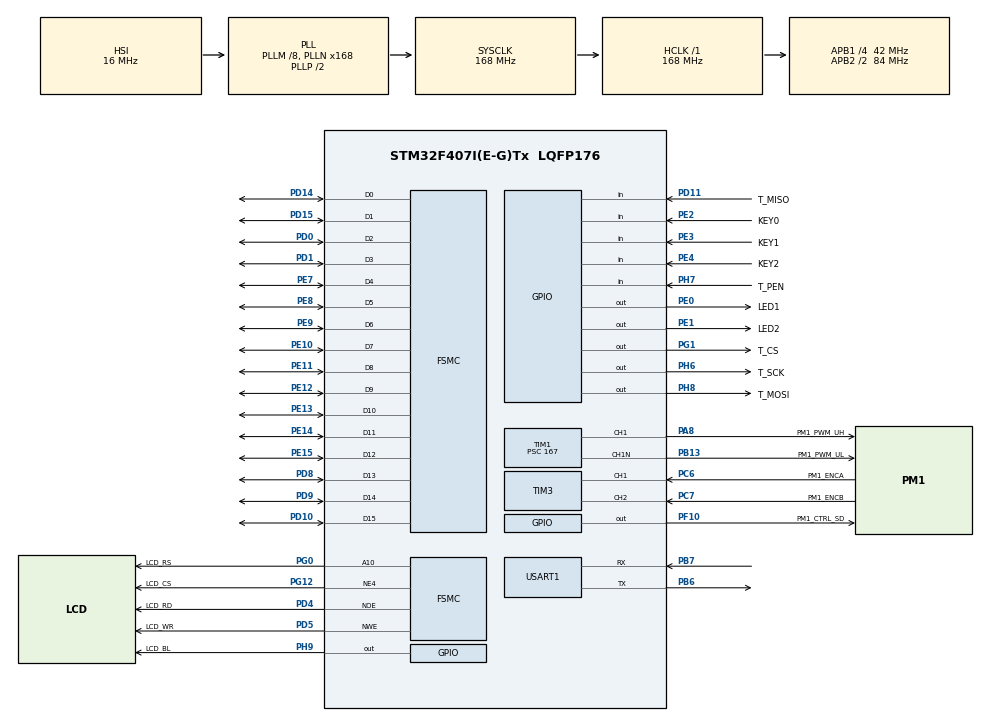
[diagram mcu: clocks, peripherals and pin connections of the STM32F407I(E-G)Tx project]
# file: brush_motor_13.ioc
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FSMC.AccessMode4=FSMC_ACCESS_MODE_A
FSMC.AddressSetupTime4=2
FSMC.BusTurnAroundDuration4=0
FSMC.DataSetupTime4=5
FSMC.ExtendedAccessMode4=FSMC_ACCESS_MODE_A
FSMC.ExtendedAddressSetupTime4=0
FSMC.ExtendedBusTurnAroundDuration4=0
FSMC.ExtendedDataSetupTime4=255
FSMC.ExtendedMode4=FSMC_EXTENDED_MODE_ENABLE
FSMC.NSBank4=FSMC_NORSRAM_BANK4
FSMC.WriteOperation4=FSMC_WRITE_OPERATION_ENABLE
Mcu.Family=STM32F4
Mcu.Name=STM32F407I(E-G)Tx
Mcu.Package=LQFP176
NVIC.PriorityGroup=NVIC_PRIORITYGROUP_4
NVIC.TIM3_IRQn=true\:2\:0\:true\:false\:true\:true\:true\:true
NVIC.TIM6_DAC_IRQn=true\:3\:0\:true\:false\:true\:true\:true\:true
PA13.Mode=Serial_Wire
PA13.Signal=SYS_JTMS-SWDIO
PA14.Mode=Serial_Wire
PA14.Signal=SYS_JTCK-SWCLK
PA8.GPIO_Label=PM1_PWM_UH
PA8.GPIO_Speed=GPIO_SPEED_FREQ_HIGH
PA8.Signal=S_TIM1_CH1
PB0.GPIO_Label=PM1_AMPU
PB0.Signal=ADCx_IN8
PB13.GPIO_Label=PM1_PWM_UL
PB13.GPIO_PuPd=GPIO_NOPULL
PB13.GPIO_Speed=GPIO_SPEED_FREQ_HIGH
PB13.Mode=PWM Generation1 CH1 CH1N
PB13.Signal=TIM1_CH1N
PB6.Mode=Asynchronous
PB6.Signal=USART1_TX
PB7.Mode=Asynchronous
PB7.Signal=USART1_RX
PC14-OSC32_IN.Mode=LSE-External-Oscillator
PC14-OSC32_IN.Signal=RCC_OSC32_IN
PC15-OSC32_OUT.Mode=LSE-External-Oscillator
PC15-OSC32_OUT.Signal=RCC_OSC32_OUT
PC6.GPIO_Label=PM1_ENCA
PC6.GPIO_Speed=GPIO_SPEED_FREQ_HIGH
PC6.Signal=S_TIM3_CH1
PC7.GPIO_Label=PM1_ENCB
PC7.GPIO_Speed=GPIO_SPEED_FREQ_HIGH
PC7.Signal=S_TIM3_CH2
PD0.GPIO_PuPd=GPIO_PULLUP
PD0.Signal=FSMC_D2_DA2
PD1.GPIO_PuPd=GPIO_PULLUP
PD1.Signal=FSMC_D3_DA3
PD10.GPIO_PuPd=GPIO_PULLUP
PD10.Signal=FSMC_D15_DA15
PD11.GPIO_Label=T_MISO
PD11.Signal=GPIO_Input
PD14.GPIO_PuPd=GPIO_PULLUP
PD14.Signal=FSMC_D0_DA0
PD15.GPIO_PuPd=GPIO_PULLUP
PD15.Signal=FSMC_D1_DA1
PD4.GPIO_Label=LCD_RD
PD4.GPIO_PuPd=GPIO_PULLUP
PD4.Signal=FSMC_NOE
PD5.GPIO_Label=LCD_WR
PD5.GPIO_PuPd=GPIO_PULLUP
PD5.Signal=FSMC_NWE
PD8.GPIO_PuPd=GPIO_PULLUP
PD8.Signal=FSMC_D13_DA13
PD9.GPIO_PuPd=GPIO_PULLUP
PD9.Signal=FSMC_D14_DA14
PE0.GPIO_Label=LED1
PE0.PinState=GPIO_PIN_SET
PE0.Signal=GPIO_Output
PE1.GPIO_Label=LED2
PE1.PinState=GPIO_PIN_SET
PE1.Signal=GPIO_Output
PE10.GPIO_PuPd=GPIO_PULLUP
PE10.Signal=FSMC_D7_DA7
PE11.GPIO_PuPd=GPIO_PULLUP
PE11.Signal=FSMC_D8_DA8
PE12.GPIO_PuPd=GPIO_PULLUP
PE12.Signal=FSMC_D9_DA9
PE13.GPIO_PuPd=GPIO_PULLUP
PE13.Signal=FSMC_D10_DA10
PE14.GPIO_PuPd=GPIO_PULLUP
PE14.Signal=FSMC_D11_DA11
PE15.GPIO_PuPd=GPIO_PULLUP
PE15.Signal=FSMC_D12_DA12
PE2.GPIO_Label=KEY0
PE2.GPIO_PuPd=GPIO_PULLUP
PE2.Signal=GPIO_Input
PE3.GPIO_Label=KEY1
PE3.GPIO_PuPd=GPIO_PULLUP
PE3.Signal=GPIO_Input
PE4.GPIO_Label=KEY2
PE4.GPIO_PuPd=GPIO_PULLUP
PE4.Signal=GPIO_Input
PE7.GPIO_PuPd=GPIO_PULLUP
PE7.Signal=FSMC_D4_DA4
PE8.GPIO_PuPd=GPIO_PULLUP
PE8.Signal=FSMC_D5_DA5
PE9.GPIO_PuPd=GPIO_PULLUP
PE9.Signal=FSMC_D6_DA6
PF10.GPIO_Label=PM1_CTRL_SD
PF10.Signal=GPIO_Output
PG0.GPIO_Label=LCD_RS
PG0.GPIO_PuPd=GPIO_PULLUP
PG0.Signal=FSMC_A10
PG1.GPIO_Label=T_CS
PG1.Signal=GPIO_Output
PG12.GPIO_Label=LCD_CS
PG12.GPIO_PuPd=GPIO_PULLUP
PG12.Mode=NorPsramChipSelect4_4
PG12.Signal=FSMC_NE4
PH0-OSC_IN.Mode=HSE-External-Oscillator
PH0-OSC_IN.Signal=RCC_OSC_IN
PH1-OSC_OUT.Mode=HSE-External-Oscillator
PH1-OSC_OUT.Signal=RCC_OSC_OUT
PH13.Signal=TIM8_CH1N
PH6.GPIO_Label=T_SCK
PH6.Signal=GPIO_Output
PH7.GPIO_Label=T_PEN
PH7.Signal=GPIO_Input
PH8.GPIO_Label=T_MOSI
PH8.Signal=GPIO_Output
PH9.GPIO_Label=LCD_BL
PH9.Signal=GPIO_Output
ProjectManager.HeapSize=0x200
ProjectManager.StackSize=0x400
ProjectManager.TargetToolchain=MDK-ARM V5.27
RCC.48MHZClocksFreq_Value=84000000
RCC.AHBFreq_Value=168000000
RCC.APB1CLKDivider=RCC_HCLK_DIV4
RCC.APB1Freq_Value=42000000
RCC.APB1TimFreq_Value=84000000
RCC.APB2CLKDivider=RCC_HCLK_DIV2
RCC.APB2Freq_Value=84000000
RCC.APB2TimFreq_Value=168000000
RCC.CortexFreq_Value=168000000
RCC.FLatency=FLASH_LATENCY_5
RCC.HCLKFreq_Value=168000000
RCC.HSE_VALUE=25000000
RCC.HSI_VALUE=16000000
RCC.PLLM=8
RCC.PLLN=168
RCC.SYSCLKFreq_VALUE=168000000
RCC.SYSCLKSource=RCC_SYSCLKSOURCE_PLLCLK
RCC.VCOOutputFreq_Value=336000000
SH.ADCx_IN8.0=ADC1_IN8
SH.FSMC_A10.0=FSMC_A10,A10_4
SH.FSMC_D0_DA0.0=FSMC_D0,16b-d4
SH.FSMC_D10_DA10.0=FSMC_D10,16b-d4
SH.FSMC_D11_DA11.0=FSMC_D11,16b-d4
SH.FSMC_D12_DA12.0=FSMC_D12,16b-d4
SH.FSMC_D13_DA13.0=FSMC_D13,16b-d4
SH.FSMC_D14_DA14.0=FSMC_D14,16b-d4
SH.FSMC_D15_DA15.0=FSMC_D15,16b-d4
SH.FSMC_D1_DA1.0=FSMC_D1,16b-d4
SH.FSMC_D2_DA2.0=FSMC_D2,16b-d4
SH.FSMC_D3_DA3.0=FSMC_D3,16b-d4
SH.FSMC_D4_DA4.0=FSMC_D4,16b-d4
SH.FSMC_D5_DA5.0=FSMC_D5,16b-d4
SH.FSMC_D6_DA6.0=FSMC_D6,16b-d4
SH.FSMC_D7_DA7.0=FSMC_D7,16b-d4
SH.FSMC_D8_DA8.0=FSMC_D8,16b-d4
SH.FSMC_D9_DA9.0=FSMC_D9,16b-d4
SH.FSMC_NOE.0=FSMC_NOE,Lcd4
SH.FSMC_NWE.0=FSMC_NWE,Lcd4
SH.S_TIM1_CH1.0=TIM1_CH1,PWM Generation1 CH1 CH1N
SH.S_TIM3_CH1.0=TIM3_CH1,Encoder_Interface
SH.S_TIM3_CH2.0=TIM3_CH2,Encoder_Interface
TIM1.Channel-PWM\ Generation1\ CH1\ CH1N=TIM_CHANNEL_1
TIM1.CounterMode=TIM_COUNTERMODE_CENTERALIGNED1
TIM1.DeadTime=3
TIM1.Period=999
TIM1.Prescaler=167
TIM1.TIM_MasterOutputTrigger=TIM_TRGO_UPDATE
TIM1.TIM_MasterSlaveMode=TIM_MASTERSLAVEMODE_ENABLE
TIM3.EncoderMode=TIM_ENCODERMODE_TI12
TIM3.IC1Filter=10
TIM3.IC2Filter=10
TIM6.Period=999
TIM6.Prescaler=83
USART1.VirtualMode=VM_ASYNC
VP_TIM1_VS_ClockSourceINT.Mode=Internal
VP_TIM6_VS_ClockSourceINT.Mode=Enable_Timer
board=custom

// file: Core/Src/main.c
/* USER CODE BEGIN Header */
/**
 ******************************************************************************
 * @file           : main.c
 * @brief          : Main program body — 直流有刷电机 梯形速度规划 位置环 PID 控制
 ******************************************************************************
 */
/* USER CODE END Header */
#include "main.h"
#include "tim.h"
#include "usart.h"
#include "gpio.h"
#include "fsmc.h"

/* USER CODE BEGIN Includes */
#include <stdio.h>
#include <string.h>
#include "bsp_lcd.h"
#include "bsp_key_led.h"
#include "bsp_delay.h"
#include "bsp_brush_motor.h"
#include "bsp_encoder.h"
#include "pid.h"
#include "position_loop.h"
#include "traj_planner.h"
#include "user_config.h"
/* USER CODE END Includes */

/* USER CODE BEGIN PV */

/* ---- 电机驱动配置（PM1：TIM1 CH1 PA8 / CH1N PB13） ---- */
BrushMotorConfig pm1_motor = {
    .htim              = &htim1,
    .tim_channel       = TIM_CHANNEL_1,
    .tim_arr_plus1     = 1000,       /* ARR=999, 分辨率 = ARR+1 = 1000 */
    .sd_port      = PM1_CTRL_SD_GPIO_Port,
    .sd_pin       = PM1_CTRL_SD_Pin
};

/* ---- 位置环控制实例 ---- */
PositionLoopCtrl position_loop;

/* ---- 梯形轨迹规划器 (12-03 新增) ---- */
TrajPlanner traj;

/* ---- TIM6 1ms 系统心跳 ---- */
volatile uint32_t g_tick_1ms = 0;

/* ---- 报告更新标志（ISR 每 200ms 置位，主循环执行 LCD + 串口） ---- */
volatile uint8_t g_report_flag = 0;

/* ==== 调试变量 ==== */
volatile uint32_t g_pid_run_cnt = 0;

/* ==== 轨迹启动同步 ==== */
static int32_t  g_traj_dest    = 0;   /* 已请求但尚未启动的轨迹目标位置 */
static uint8_t  g_traj_pending = 0;   /* 是否有新轨迹等待启动：1=有，0=无（按键设置，ISR 取用后清零） */
static uint8_t  g_traj_home    = 0;   /* 是否为回零轨迹：1=回零，0=普通定位（影响原点坐标处理） */

/* USER CODE END PV */

void SystemClock_Config(void);
/* USER CODE BEGIN PFP */
static void Sys_LCD_Update(void);
static void Sys_Serial_Output(void);
/* USER CODE END PFP */

/* USER CODE BEGIN 0 */

/*==============================================================================
 * 按键处理
 *============================================================================*/

/** @brief KEY0: 目标位置 +1 圈
 *  @note  不在按键处理中启动轨迹——只记录目标行程，
 *         由 TIM6 ISR 在下一个 PID 周期用实时编码器值启动，
 *         消除按键时刻与 ISR 时刻之间的编码器漂移。
 *  @note  cur 取 traj.target_pos（上一条轨迹的数学终点），
 *         而非编码器读数，避免累积误差导致 Dest 不成倍数。 */
static void Key0_AddAngle(void)
{
    int32_t dest = traj.target_pos + STEP_ANGLE_COUNTS;
    if (dest > POSITION_MAX) dest = POSITION_MAX;

    g_traj_dest    = dest;
    g_traj_pending = 1;
    position_loop.state = POS_STATE_MOVING;
    Led_Toggle(LED1);
}

/** @brief KEY1: 目标位置 -1 圈 */
static void Key1_SubAngle(void)
{
    int32_t dest = traj.target_pos - STEP_ANGLE_COUNTS;
    if (dest < POSITION_MIN) dest = POSITION_MIN;

    g_traj_dest    = dest;
    g_traj_pending = 1;
    position_loop.state = POS_STATE_MOVING;
    Led_Toggle(LED2);
}

/** @brief KEY2: 复位到原点 */
static void Key2_ResetOrigin(void)
{
    g_traj_dest    = 0;
    g_traj_pending = 1;
    g_traj_home    = 1;
    position_loop.state = POS_STATE_MOVING;
    Led_Off(LED1);
    Led_Off(LED2);
}

/* USER CODE END 0 */

int main(void)
{

  /* MCU Configuration--------------------------------------------------------*/

  HAL_Init();

  SystemClock_Config();

  MX_GPIO_Init();
  MX_FSMC_Init();
  MX_USART1_UART_Init();
  MX_TIM1_Init();
  MX_TIM3_Init();
  MX_TIM6_Init();
  /* USER CODE BEGIN 2 */
  DWT_Init();
  Key_Init();
  Led_Init();
  lcd_init();

  /* ---- 屏幕标题 ---- */
  lcd_show_string(100, 10, 300, 32, 32, "Dr.GAO-Motor-1", RED);
  lcd_show_string(10,  60, 450, 24, 24, "Chap12-03: Traj PID", BLUE);

  /* ---- 初始化电机驱动 ---- */
  BrushMotor_Init(&pm1_motor);
  BrushMotor_BootstrapCharge();

  /* ---- 初始化编码器 ---- */
  BSP_Encoder_Init();
  BSP_Encoder_Start(ENCODER_PM1);

  /* ---- 初始化位置环 ---- */
  PositionLoop_Init(&position_loop, &pm1_motor);

  /* ---- 初始化梯形轨迹规划器 ---- */
  TrajPlanner_Init(&traj, TRAJ_V_MAX, TRAJ_ACCEL);

  /* ---- LED 初始状态 ---- */
  Led_Off(LED1);
  Led_Off(LED2);

  HAL_NVIC_SetPriority(TIM6_DAC_IRQn, 1, 0);

  /* ---- 启动 TIM6 1ms 系统心跳 ---- */
  HAL_TIM_Base_Start_IT(&htim6);

  /* USER CODE END 2 */

  /* Infinite loop */
  /* USER CODE BEGIN WHILE */
  while (1)
  {
    /* ---- 按键扫描（10ms 消抖，松手检测） ---- */
    {
      uint8_t key = Key_Scan(0);
      if (key == KEY0_Pressed)      Key0_AddAngle();
      else if (key == KEY1_Pressed) Key1_SubAngle();
      else if (key == KEY2_Pressed) Key2_ResetOrigin();
    }

    /* ---- LCD + 串口更新 ---- */
    if (g_report_flag)
    {
      g_report_flag = 0;
      Sys_LCD_Update();
      Sys_Serial_Output();
    }

    HAL_Delay(10);
  }
    /* USER CODE END WHILE */

}

void SystemClock_Config(void)
{
  RCC_OscInitTypeDef RCC_OscInitStruct = {0};
  RCC_ClkInitTypeDef RCC_ClkInitStruct = {0};

  __HAL_RCC_PWR_CLK_ENABLE();
  __HAL_PWR_VOLTAGESCALING_CONFIG(PWR_REGULATOR_VOLTAGE_SCALE1);

  RCC_OscInitStruct.OscillatorType = RCC_OSCILLATORTYPE_HSI;
  RCC_OscInitStruct.HSIState = RCC_HSI_ON;
  RCC_OscInitStruct.HSICalibrationValue = RCC_HSICALIBRATION_DEFAULT;
  RCC_OscInitStruct.PLL.PLLState = RCC_PLL_ON;
  RCC_OscInitStruct.PLL.PLLSource = RCC_PLLSOURCE_HSI;
  RCC_OscInitStruct.PLL.PLLM = 8;
  RCC_OscInitStruct.PLL.PLLN = 168;
  RCC_OscInitStruct.PLL.PLLP = RCC_PLLP_DIV2;
  RCC_OscInitStruct.PLL.PLLQ = 4;
  if (HAL_RCC_OscConfig(&RCC_OscInitStruct) != HAL_OK)
  {
    Error_Handler();
  }

  RCC_ClkInitStruct.ClockType = RCC_CLOCKTYPE_HCLK|RCC_CLOCKTYPE_SYSCLK
                              |RCC_CLOCKTYPE_PCLK1|RCC_CLOCKTYPE_PCLK2;
  RCC_ClkInitStruct.SYSCLKSource = RCC_SYSCLKSOURCE_PLLCLK;
  RCC_ClkInitStruct.AHBCLKDivider = RCC_SYSCLK_DIV1;
  RCC_ClkInitStruct.APB1CLKDivider = RCC_HCLK_DIV4;
  RCC_ClkInitStruct.APB2CLKDivider = RCC_HCLK_DIV2;

  if (HAL_RCC_ClockConfig(&RCC_ClkInitStruct, FLASH_LATENCY_5) != HAL_OK)
  {
    Error_Handler();
  }
}

/* USER CODE BEGIN 4 */

/*==============================================================================
 * TIM 中断回调
 *============================================================================*/

void HAL_TIM_PeriodElapsedCallback(TIM_HandleTypeDef *htim)
{
  if (htim->Instance == TIM6)
  {
    static uint32_t pid_cnt    = 0;
    static uint32_t report_cnt = 0;
    static uint32_t speed_cnt  = 0;

    g_tick_1ms++;

    /* ---- 位置环控制 ---- */
    if (++pid_cnt >= PID_PERIOD_TICKS)
    {
      pid_cnt = 0;

      /* 待启动轨迹：在 ISR 中用实时编码器值启动
       *
       * 为什么不在按键处理中直接启动？
       * 按键跑在 while(1) 主循环，而轨迹需要在 ISR 的 PID 周期内推演。
       * 如果按键时刻读编码器 = -5，50ms 后 ISR 执行时编码器已漂到 +10，
       * 轨迹从 -5 起步但编码器在 +10 → 第一帧误差为负 → 电机反转。
       * 推迟到 ISR 内读取 → 编码器和轨迹起步发生在同一时刻，零时序断层。 */
      if (g_traj_pending)
      {
        int32_t cur = PositionLoop_GetFeedback(&position_loop);
        TrajPlanner_Start(&traj, cur, g_traj_dest);
        PID_Reset(&position_loop.pid);
        /* 预填反馈历史：PID_Reset 将 feedback_prev 清零，
         * 但编码器当前值非零 → 首帧 D 项 = -Kd×(cur-0) = 负尖峰。
         * 预填为 cur 后 D 项 = 0，accumulated 保持纯正向。 */
        position_loop.pid.feedback_prev  = (float)cur;
        position_loop.pid.feedback_prev2 = (float)cur;
        position_loop.target    = cur;
        position_loop.state     = POS_STATE_MOVING;
        position_loop.home_flag = g_traj_home;
        g_traj_pending = 0;
        g_traj_home    = 0;
      }

      /* 轨迹未完成：推进轨迹 → 更新中间目标 */
      if (!TrajPlanner_IsDone(&traj))
      {
        int32_t setpoint = TrajPlanner_Update(&traj, 0.05f);
        PositionLoop_SetTarget(&position_loop, setpoint);
      }

      PositionLoop_Update(&position_loop);

      /* 轨迹完成后停机：两条路径
       *   ① 已进死区(HOLDING) → 立即 IDLE + 禁能
       *   ② 超时 15 帧(750ms) → 强制 IDLE + 禁能（防持续啸叫） */
      {
        static uint8_t done_cnt = 0;
        if (TrajPlanner_IsDone(&traj))
        {
          if (position_loop.state == POS_STATE_HOLDING)
          {
            position_loop.state = POS_STATE_IDLE;
            BrushMotor_Disable();
            done_cnt = 0;
          }
          else if (++done_cnt > 15)
          {
            position_loop.state = POS_STATE_IDLE;
            BrushMotor_Disable();
            done_cnt = 0;
          }
        }
        else
        {
          done_cnt = 0;
        }
      }
    }

    /* 编码器速度更新（100ms） */
    if (++speed_cnt >= 100u)
    {
      speed_cnt = 0;
      BSP_Encoder_UpdateSpeed();
    }

    /* 报告更新标志 */
    if (++report_cnt >= REPORT_PERIOD_TICKS)
    {
      report_cnt = 0;
      g_report_flag = 1;
    }
  }
  else if (htim->Instance == TIM3)
  {
    BSP_Encoder_HandleOverflow(htim);
  }
}

/*==============================================================================
 * LCD 显示更新
 *============================================================================*/

static void Sys_LCD_Update(void)
{
    char buffer[60];

    /* 行1：轨迹阶段 + 速度 */
    {
        const char *phase = TrajPlanner_PhaseName(traj.phase);
        sprintf(buffer, "Traj: %s  V:%3.0f cnt/s        ",
                phase, TrajPlanner_GetSpeed(&traj));
    }
    lcd_show_string(10, 90, 450, 24, 24, buffer,
                    TrajPlanner_IsDone(&traj) ? GREEN : BLUE);

    /* 行2：最终目标 + 轨迹中间目标 */
    {
        sprintf(buffer, "Dest: %ld  TSP: %ld             ",
                (long)traj.target_pos,
                (long)TrajPlanner_GetSetpoint(&traj));
    }
    lcd_show_string(10, 120, 400, 24, 24, buffer, BLUE);

    /* 行3：当前位置 + 误差 */
    {
        int32_t f = PositionLoop_GetFeedback(&position_loop);
        int32_t e = PositionLoop_GetError(&position_loop);
        sprintf(buffer, "Pos: %ld  Err: %ld              ",
                (long)f, (long)e);
    }
    lcd_show_string(10, 150, 400, 24, 24, buffer, BLUE);

    /* 行4：PWM 占空比 */
    {
        sprintf(buffer, "PWM: %+d%%  PIDcnt: %lu            ",
                (int)position_loop.pwm_final,
                (unsigned long)g_pid_run_cnt);
    }
    lcd_show_string(10, 180, 400, 24, 24, buffer, BLUE);

    /* 行5：进度 */
    {
        sprintf(buffer, "Progress: %3.0f%%                 ",
                TrajPlanner_GetProgress(&traj));
    }
    lcd_show_string(10, 210, 400, 24, 24, buffer, BLUE);
}

/*==============================================================================
 * VOFA+ / 串口输出
 *============================================================================*/

static void Sys_Serial_Output(void)
{
#if VOFA_FIREWATER_ENABLE
    /* ---- VOFA+ FireWater 协议 ----
     *
     * 通道定义 (12-03 新增 ch4: 轨迹中间目标)：
     *   ch0: 目标位置 (counts)
     *   ch1: 实际位置 (counts)
     *   ch2: 位置误差 (counts)
     *   ch3: PWM 输出 (%)
     *   ch4: 轨迹中间目标 (counts) ★ 12-03 新增
     *
     * VOFA+ 设置：协议 FireWater，绑定串口后自动绘图
     * -------------------------------------------------------- */
    char vofa_buf[100];
    sprintf(vofa_buf, "%.1f,%.1f,%.1f,%.1f,%.1f\n",
            (float)PositionLoop_GetTarget(&position_loop),
            (float)PositionLoop_GetFeedback(&position_loop),
            (float)PositionLoop_GetError(&position_loop),
            (float)position_loop.pwm_final,
            (float)TrajPlanner_GetSetpoint(&traj));
    USART_SendString(vofa_buf);
#else
    char buffer[120];
    sprintf(buffer,
            "[TRAJ-PID] T:%ld SP:%ld A:%ld E:%ld %s PWM:%+d%% [pid:%lu]\r\n",
            (long)PositionLoop_GetTarget(&position_loop),
            (long)TrajPlanner_GetSetpoint(&traj),
            (long)PositionLoop_GetFeedback(&position_loop),
            (long)PositionLoop_GetError(&position_loop),
            TrajPlanner_PhaseName(traj.phase),
            (int)position_loop.pwm_final,
            (unsigned long)g_pid_run_cnt);
    USART_SendString(buffer);
#endif
}
/* USER CODE END 4 */

void Error_Handler(void)
{
  __disable_irq();
  while (1)
  {
  }
}
